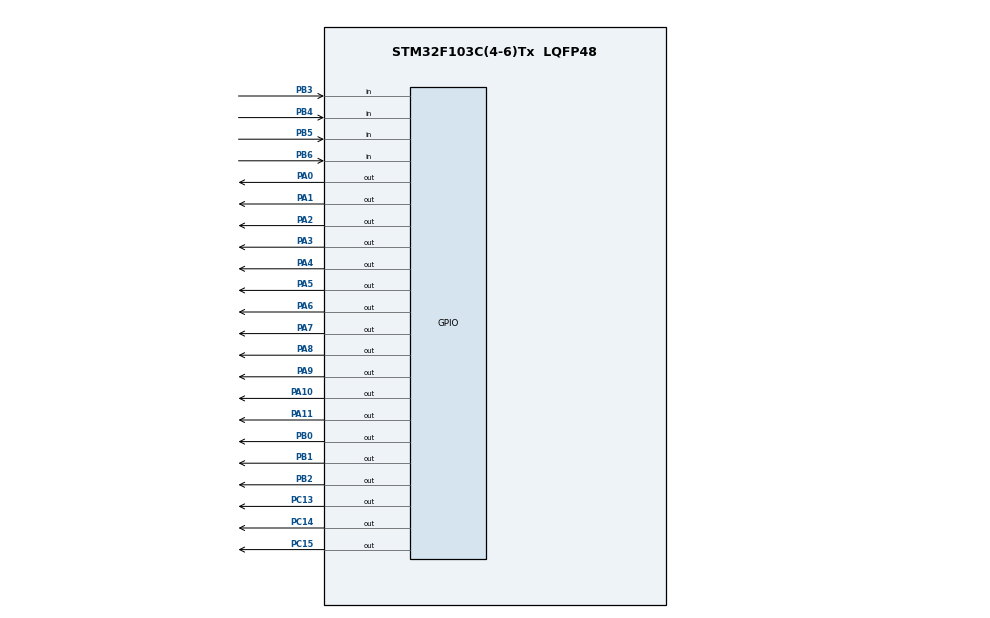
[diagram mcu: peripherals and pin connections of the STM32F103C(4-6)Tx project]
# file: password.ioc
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Mcu.Family=STM32F1
Mcu.Name=STM32F103C(4-6)Tx
Mcu.Package=LQFP48
NVIC.PriorityGroup=NVIC_PRIORITYGROUP_4
PA0-WKUP.Signal=GPIO_Output
PA1.Signal=GPIO_Output
PA10.Signal=GPIO_Output
PA11.Signal=GPIO_Output
PA13.Mode=Serial_Wire
PA13.Signal=SYS_JTMS-SWDIO
PA14.Mode=Serial_Wire
PA14.Signal=SYS_JTCK-SWCLK
PA2.Signal=GPIO_Output
PA3.Signal=GPIO_Output
PA4.Signal=GPIO_Output
PA5.Signal=GPIO_Output
PA6.Signal=GPIO_Output
PA7.Signal=GPIO_Output
PA8.Signal=GPIO_Output
PA9.Signal=GPIO_Output
PB0.PinState=GPIO_PIN_SET
PB0.Signal=GPIO_Output
PB1.PinState=GPIO_PIN_SET
PB1.Signal=GPIO_Output
PB2.PinState=GPIO_PIN_SET
PB2.Signal=GPIO_Output
PB3.GPIO_PuPd=GPIO_PULLUP
PB3.Signal=GPIO_Input
PB4.GPIO_PuPd=GPIO_PULLUP
PB4.Signal=GPIO_Input
PB5.GPIO_PuPd=GPIO_PULLUP
PB5.Signal=GPIO_Input
PB6.GPIO_PuPd=GPIO_PULLUP
PB6.Signal=GPIO_Input
PC13-TAMPER-RTC.Signal=GPIO_Output
PC14-OSC32_IN.Signal=GPIO_Output
PC15-OSC32_OUT.Signal=GPIO_Output
ProjectManager.HeapSize=0x200
ProjectManager.StackSize=0x400
ProjectManager.TargetToolchain=MDK-ARM V5.32
RCC.APB1Freq_Value=8000000
RCC.APB2Freq_Value=8000000
board=custom

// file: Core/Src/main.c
/* USER CODE BEGIN Header */
/**
  ******************************************************************************
  * @file           : main.c
  * @brief          : Main program body
  ******************************************************************************
  * @attention
  *
  * Copyright (c) 2023 STMicroelectronics.
  * All rights reserved.
  *
  * This software is licensed under terms that can be found in the LICENSE file
  * in the root directory of this software component.
  * If no LICENSE file comes with this software, it is provided AS-IS.
  *
  ******************************************************************************
  */
/* USER CODE END Header */
#include "main.h"

/* USER CODE BEGIN PV */
	uint8_t dem=0;
	uint8_t var[8]= {15,15,15,15,15,15,15,15};
	uint8_t password[8]= {0,2,0,9,1,9,4,5};
	uint8_t nhapsai=0;
/* USER CODE END PV */

void SystemClock_Config(void);
static void MX_GPIO_Init(void);
/* USER CODE BEGIN PFP */
void CheckPass(void)
{
	if(nhapsai<3)
	{
		for(int k=0;k<8;k++)
		if(var[k] == password[k])
		{
			if(k == 7)
			{
				for(int i=0;i<8;i++)
				var[i] = 0x01;
				dem=0;
				nhapsai =0;
				HAL_GPIO_WritePin(GPIOC,GPIO_PIN_14,1); //bat led pc14
				HAL_Delay(200);
				HAL_GPIO_WritePin(GPIOC,GPIO_PIN_14 ,0); //tat led pc14
			}
		}
		else
		{
				for(int j=0;j<8;j++)
				var[j] = 15;
				dem=0;
			HAL_GPIO_WritePin(GPIOC,GPIO_PIN_13 ,1); //bat led pc13
			HAL_Delay(200);
			HAL_GPIO_WritePin(GPIOC,GPIO_PIN_13 ,0); //tat led pc13

		}
	}
	nhapsai++;
	if (nhapsai==3)
	{		for(int h=0;h<8;h++)
			var[h] = 0x00;
		HAL_GPIO_WritePin(GPIOC,GPIO_PIN_15 ,1); //bat led pc15
	}
}
void quetbanphim()
{
	HAL_GPIO_WritePin(GPIOB,GPIO_PIN_0,0);
	if(HAL_GPIO_ReadPin(GPIOB,GPIO_PIN_3)==0)                // nhan phim 1
		{
			while(HAL_GPIO_ReadPin(GPIOB,GPIO_PIN_3)==0){}
			if(dem<8)
			{
				var[dem] = 1;
				dem++;
			}
		}
	if(HAL_GPIO_ReadPin(GPIOB,GPIO_PIN_4)==0)                // nhan phim 4
		{
			while(HAL_GPIO_ReadPin(GPIOB,GPIO_PIN_4)==0){}
			if(dem<8)
			{
				var[dem] = 4;
				dem++;
			}
		}
	if(HAL_GPIO_ReadPin(GPIOB,GPIO_PIN_5)==0)                // nhan phim 7
		{
			while(HAL_GPIO_ReadPin(GPIOB,GPIO_PIN_5)==0){}
			if(dem<8)
			{
				var[dem] = 7;
				dem++;
			}
		}
	if(HAL_GPIO_ReadPin(GPIOB,GPIO_PIN_6)==0)                // nhan phim * hay phim xoa
		{
			while(HAL_GPIO_ReadPin(GPIOB,GPIO_PIN_6)==0){}
			if(dem>0)
			{
					dem--;
					var[dem]=15;
			}
		}
  HAL_GPIO_WritePin(GPIOB,GPIO_PIN_0,1);
	// nhan cot thu hai
	HAL_GPIO_WritePin(GPIOB,GPIO_PIN_1,0);
	if(HAL_GPIO_ReadPin(GPIOB,GPIO_PIN_3)==0)                // nhan phim 2
		{
			while(HAL_GPIO_ReadPin(GPIOB,GPIO_PIN_3)==0){}
			if(dem<8)
			{
				var[dem] = 2;
				dem++;
			}
		}
	if(HAL_GPIO_ReadPin(GPIOB,GPIO_PIN_4)==0)                // nhan phim 5
		{
			while(HAL_GPIO_ReadPin(GPIOB,GPIO_PIN_4)==0){}
			if(dem<8)
			{
				var[dem] = 5;
				dem++;
			}
		}
	if(HAL_GPIO_ReadPin(GPIOB,GPIO_PIN_5)==0)                // nhan phim 8
		{
			while(HAL_GPIO_ReadPin(GPIOB,GPIO_PIN_5)==0){}
			if(dem<8)
			{
				var[dem] = 8;
				dem++;
			}
		}
	if(HAL_GPIO_ReadPin(GPIOB,GPIO_PIN_6)==0)                // nhan phim 0
		{
			while(HAL_GPIO_ReadPin(GPIOB,GPIO_PIN_6)==0){}
			if(dem<8)
			{
				var[dem] = 0;
				dem++;
			}
		}
	HAL_GPIO_WritePin(GPIOB,GPIO_PIN_1,1);
	// nhan cot thu ba
	HAL_GPIO_WritePin(GPIOB,GPIO_PIN_2,0);
	if(HAL_GPIO_ReadPin(GPIOB,GPIO_PIN_3)==0)                // nhan phim 3
		{
			while(HAL_GPIO_ReadPin(GPIOB,GPIO_PIN_3)==0){}
			if(dem<8)
			{
				var[dem] = 3;
				dem++;
			}
		}
	if(HAL_GPIO_ReadPin(GPIOB,GPIO_PIN_4)==0)                // nhan phim 6
		{
			while(HAL_GPIO_ReadPin(GPIOB,GPIO_PIN_4)==0){}
			if(dem<8)
			{
				var[dem] = 6;
				dem++;
			}
		}
	if(HAL_GPIO_ReadPin(GPIOB,GPIO_PIN_5)==0)                // nhan phim 9
		{
			while(HAL_GPIO_ReadPin(GPIOB,GPIO_PIN_5)==0){}
			if(dem<8)
			{
				var[dem] = 9;
				dem++;
			}
		}
	if(HAL_GPIO_ReadPin(GPIOB,GPIO_PIN_6)==0)                // nhan phim # hay phim Enter
		{
			while(HAL_GPIO_ReadPin(GPIOB,GPIO_PIN_6)==0){}
			CheckPass();                                         // kiem tra mat khau
		}
	HAL_GPIO_WritePin(GPIOB,GPIO_PIN_2,1);
}
void IC_7447(uint8_t number)
{
	HAL_GPIO_WritePin(GPIOA,GPIO_PIN_8, (number/1)%2);
	HAL_GPIO_WritePin(GPIOA,GPIO_PIN_9, (number/2)%2);
	HAL_GPIO_WritePin(GPIOA,GPIO_PIN_10, (number/4)%2);
	HAL_GPIO_WritePin(GPIOA,GPIO_PIN_11, (number/8)%2);
}
void quetled()
{
			HAL_GPIO_WritePin(GPIOA,GPIO_PIN_0 , 1); 			 //quet led 1
			IC_7447(var[0]);
			HAL_Delay(1);
			HAL_GPIO_WritePin(GPIOA,GPIO_PIN_0 , 0);

			HAL_GPIO_WritePin(GPIOA,GPIO_PIN_1 , 1); 			 //quet led 2
			IC_7447(var[1]);
			HAL_Delay(1);
			HAL_GPIO_WritePin(GPIOA,GPIO_PIN_1 , 0);

			HAL_GPIO_WritePin(GPIOA,GPIO_PIN_2 , 1); 			 //quet led 3
			IC_7447(var[2]);
			HAL_Delay(1);
			HAL_GPIO_WritePin(GPIOA,GPIO_PIN_2 , 0);

			HAL_GPIO_WritePin(GPIOA,GPIO_PIN_3 , 1); 			 //quet led 4
			IC_7447(var[3]);
			HAL_Delay(1);
			HAL_GPIO_WritePin(GPIOA,GPIO_PIN_3 , 0);

			HAL_GPIO_WritePin(GPIOA,GPIO_PIN_4 , 1); 			 //quet led 5
			IC_7447(var[4]);
			HAL_Delay(1);
			HAL_GPIO_WritePin(GPIOA,GPIO_PIN_4 , 0);

			HAL_GPIO_WritePin(GPIOA,GPIO_PIN_5 , 1); 			 //quet led 6
			IC_7447(var[5]);
			HAL_Delay(1);
			HAL_GPIO_WritePin(GPIOA,GPIO_PIN_5 , 0);

			HAL_GPIO_WritePin(GPIOA,GPIO_PIN_6 , 1); 			 //quet led 7
			IC_7447(var[6]);
			HAL_Delay(1);
			HAL_GPIO_WritePin(GPIOA,GPIO_PIN_6 , 0);

			HAL_GPIO_WritePin(GPIOA,GPIO_PIN_7 , 1); 			 //quet led 8
			IC_7447(var[7]);
			HAL_Delay(1);
			HAL_GPIO_WritePin(GPIOA,GPIO_PIN_7 , 0);
}

/* USER CODE END PFP */

int main(void)
{

  /* MCU Configuration--------------------------------------------------------*/

  /* Reset of all peripherals, Initializes the Flash interface and the Systick. */
  HAL_Init();

  /* Configure the system clock */
  SystemClock_Config();

  /* Initialize all configured peripherals */
  MX_GPIO_Init();

  /* Infinite loop */
  while (1)
  {

    /* USER CODE BEGIN 3 */
		quetbanphim();
		quetled();
  }
  /* USER CODE END 3 */
}

void SystemClock_Config(void)
{
  RCC_OscInitTypeDef RCC_OscInitStruct = {0};
  RCC_ClkInitTypeDef RCC_ClkInitStruct = {0};

  /** Initializes the RCC Oscillators according to the specified parameters
  * in the RCC_OscInitTypeDef structure.
  */
  RCC_OscInitStruct.OscillatorType = RCC_OSCILLATORTYPE_HSI;
  RCC_OscInitStruct.HSIState = RCC_HSI_ON;
  RCC_OscInitStruct.HSICalibrationValue = RCC_HSICALIBRATION_DEFAULT;
  RCC_OscInitStruct.PLL.PLLState = RCC_PLL_NONE;
  if (HAL_RCC_OscConfig(&RCC_OscInitStruct) != HAL_OK)
  {
    Error_Handler();
  }

  /** Initializes the CPU, AHB and APB buses clocks
  */
  RCC_ClkInitStruct.ClockType = RCC_CLOCKTYPE_HCLK|RCC_CLOCKTYPE_SYSCLK
                              |RCC_CLOCKTYPE_PCLK1|RCC_CLOCKTYPE_PCLK2;
  RCC_ClkInitStruct.SYSCLKSource = RCC_SYSCLKSOURCE_HSI;
  RCC_ClkInitStruct.AHBCLKDivider = RCC_SYSCLK_DIV1;
  RCC_ClkInitStruct.APB1CLKDivider = RCC_HCLK_DIV1;
  RCC_ClkInitStruct.APB2CLKDivider = RCC_HCLK_DIV1;

  if (HAL_RCC_ClockConfig(&RCC_ClkInitStruct, FLASH_LATENCY_0) != HAL_OK)
  {
    Error_Handler();
  }
}

static void MX_GPIO_Init(void)
{
  GPIO_InitTypeDef GPIO_InitStruct = {0};

  /* GPIO Ports Clock Enable */
  __HAL_RCC_GPIOC_CLK_ENABLE();
  __HAL_RCC_GPIOA_CLK_ENABLE();
  __HAL_RCC_GPIOB_CLK_ENABLE();

  /*Configure GPIO pin Output Level */
  HAL_GPIO_WritePin(GPIOC, GPIO_PIN_13|GPIO_PIN_14|GPIO_PIN_15, GPIO_PIN_RESET);

  /*Configure GPIO pin Output Level */
  HAL_GPIO_WritePin(GPIOA, GPIO_PIN_0|GPIO_PIN_1|GPIO_PIN_2|GPIO_PIN_3
                          |GPIO_PIN_4|GPIO_PIN_5|GPIO_PIN_6|GPIO_PIN_7
                          |GPIO_PIN_8|GPIO_PIN_9|GPIO_PIN_10|GPIO_PIN_11, GPIO_PIN_RESET);

  /*Configure GPIO pin Output Level */
  HAL_GPIO_WritePin(GPIOB, GPIO_PIN_0|GPIO_PIN_1|GPIO_PIN_2, GPIO_PIN_SET);

  /*Configure GPIO pins : PC13 PC14 PC15 */
  GPIO_InitStruct.Pin = GPIO_PIN_13|GPIO_PIN_14|GPIO_PIN_15;
  GPIO_InitStruct.Mode = GPIO_MODE_OUTPUT_PP;
  GPIO_InitStruct.Pull = GPIO_NOPULL;
  GPIO_InitStruct.Speed = GPIO_SPEED_FREQ_LOW;
  HAL_GPIO_Init(GPIOC, &GPIO_InitStruct);

  /*Configure GPIO pins : PA0 PA1 PA2 PA3
                           PA4 PA5 PA6 PA7
                           PA8 PA9 PA10 PA11 */
  GPIO_InitStruct.Pin = GPIO_PIN_0|GPIO_PIN_1|GPIO_PIN_2|GPIO_PIN_3
                          |GPIO_PIN_4|GPIO_PIN_5|GPIO_PIN_6|GPIO_PIN_7
                          |GPIO_PIN_8|GPIO_PIN_9|GPIO_PIN_10|GPIO_PIN_11;
  GPIO_InitStruct.Mode = GPIO_MODE_OUTPUT_PP;
  GPIO_InitStruct.Pull = GPIO_NOPULL;
  GPIO_InitStruct.Speed = GPIO_SPEED_FREQ_LOW;
  HAL_GPIO_Init(GPIOA, &GPIO_InitStruct);

  /*Configure GPIO pins : PB0 PB1 PB2 */
  GPIO_InitStruct.Pin = GPIO_PIN_0|GPIO_PIN_1|GPIO_PIN_2;
  GPIO_InitStruct.Mode = GPIO_MODE_OUTPUT_PP;
  GPIO_InitStruct.Pull = GPIO_NOPULL;
  GPIO_InitStruct.Speed = GPIO_SPEED_FREQ_LOW;
  HAL_GPIO_Init(GPIOB, &GPIO_InitStruct);

  /*Configure GPIO pins : PB3 PB4 PB5 PB6 */
  GPIO_InitStruct.Pin = GPIO_PIN_3|GPIO_PIN_4|GPIO_PIN_5|GPIO_PIN_6;
  GPIO_InitStruct.Mode = GPIO_MODE_INPUT;
  GPIO_InitStruct.Pull = GPIO_PULLUP;
  HAL_GPIO_Init(GPIOB, &GPIO_InitStruct);

}

void Error_Handler(void)
{
  __disable_irq();
  while (1)
  {
  }
}
